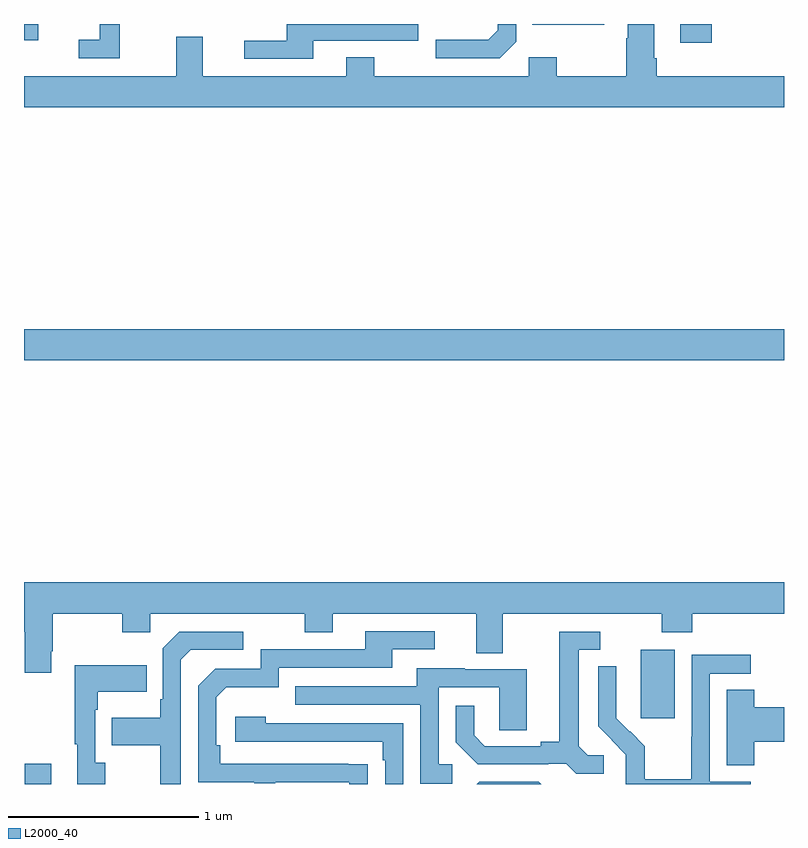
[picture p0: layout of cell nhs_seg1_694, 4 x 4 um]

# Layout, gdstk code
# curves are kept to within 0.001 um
import gdstk
lib = gdstk.Library(unit=1e-6, precision=1e-09)
def R(c, l, rs):  # rectangles x0, y0, x1, y1
    for r in rs: c.add(gdstk.rectangle(r[:2], r[2:], *l))
def P(c, l, *ps):  # polygons
    for p in ps: c.add(gdstk.Polygon(p, *l))
L2000_40 = (2000, 40)

nhs_seg1_694 = lib.new_cell('nhs_seg1_694')
R(nhs_seg1_694, L2000_40, [(149.003,520.199,149.143,520.306), (152.246,520.545,152.425,520.906), (149,522.428,153,522.592), (152.453,524.1,152.621,524.199), (149,524.114,149.074,524.199), (151.675,524.195,152.053,524.199)])
P(nhs_seg1_694, L2000_40, [(153,523.924),(152.33,523.924),(152.33,524.02),(152.317,524.02),(152.317,524.199),(152.177,524.199),(152.177,524.123),(152.17,524.123),(152.17,523.924),(151.803,523.924),(151.803,524.023),(151.656,524.023),(151.656,523.924),(150.843,523.924),(150.843,524.023),(150.695,524.023),(150.695,523.924),(149.941,523.924),(149.941,524.132),(149.801,524.132),(149.801,523.924),(149,523.924),(149,523.76),(153,523.76)],
  [(150.523,524.112),(151.074,524.112),(151.074,524.199),(150.383,524.199),(150.383,524.112),(150.159,524.112),(150.159,524.016),(150.523,524.016)],
  [(149.503,524.199),(149.399,524.199),(149.399,524.115),(149.289,524.115),(149.289,524.019),(149.503,524.019)],
  [(151.59,524.106),(151.59,524.199),(151.494,524.199),(151.494,524.166),(151.443,524.115),(151.167,524.115),(151.167,524.019),(151.503,524.019)],
  [(149.143,520.897),(149.151,520.897),(149.151,521.096),(149.518,521.096),(149.518,520.997),(149.664,520.997),(149.664,521.096),(150.478,521.096),(150.478,520.997),(150.625,520.997),(150.625,521.096),(151.379,521.096),(151.379,520.888),(151.519,520.888),(151.519,521.096),(152.356,521.096),(152.356,520.997),(152.516,520.997),(152.516,521.096),(153,521.096),(153,521.26),(149,521.26),(149,521),(149.003,521),(149.003,520.785),(149.143,520.785)],
  [(150.809,520.304),(150.032,520.305),(150.032,520.402),(150.012,520.402),(150.012,520.656),(150.065,520.709),(150.342,520.709),(150.342,520.812),(150.937,520.812),(150.937,520.908),(151.162,520.908),(151.162,521.004),(150.797,521.004),(150.797,520.908),(150.246,520.908),(150.246,520.806),(150.006,520.806),(149.916,520.716),(149.916,520.209),(150.211,520.209),(150.211,520.204),(150.323,520.204),(150.323,520.209),(150.713,520.209),(150.713,520.199),(150.809,520.199)],
  [(149.826,520.854),(149.877,520.905),(150.154,520.905),(150.154,521.001),(149.817,521.001),(149.73,520.914),(149.73,520.645),(149.718,520.645),(149.718,520.549),(149.461,520.549),(149.461,520.402),(149.718,520.402),(149.718,520.199),(149.826,520.199)],
  [(152.05,520.35),(151.968,520.35),(151.921,520.397),(151.921,520.905),(152.032,520.905),(152.032,521.001),(151.817,521.001),(151.817,520.421),(151.721,520.421),(151.721,520.398),(151.426,520.398),(151.369,520.455),(151.369,520.612),(151.272,520.612),(151.272,520.418),(151.388,520.302),(151.76,520.302),(151.76,520.305),(151.854,520.305),(151.906,520.253),(152.05,520.253)],
  [(152.824,520.212),(152.61,520.212),(152.61,520.779),(152.824,520.779),(152.824,520.878),(152.514,520.878),(152.514,520.448),(152.512,520.448),(152.512,520.225),(152.267,520.225),(152.267,520.399),(152.19,520.476),(152.187,520.473),(152.117,520.544),(152.118,520.82),(152.022,520.82),(152.022,520.502),(152.168,520.354),(152.168,520.257),(152.166,520.257),(152.166,520.199),(152.824,520.199)],
  [(149.428,520.31),(149.376,520.31),(149.376,520.589),(149.389,520.589),(149.389,520.685),(149.645,520.685),(149.645,520.825),(149.268,520.825),(149.268,520.409),(149.279,520.409),(149.279,520.199),(149.428,520.199)],
  [(151.255,520.302),(151.182,520.302),(151.182,520.707),(151.5,520.707),(151.5,520.483),(151.645,520.483),(151.645,520.803),(151.321,520.803),(151.321,520.807),(151.067,520.807),(151.067,520.713),(150.427,520.713),(150.427,520.617),(151.086,520.617),(151.086,520.201),(151.255,520.201)],
  [(152.843,520.421),(153,520.421),(153,520.604),(152.843,520.604),(152.843,520.694),(152.699,520.694),(152.699,520.297),(152.843,520.297)],
  [(150.996,520.518),(150.272,520.518),(150.272,520.552),(150.111,520.552),(150.111,520.422),(150.887,520.422),(150.887,520.325),(150.9,520.325),(150.9,520.199),(150.996,520.199)],
  [(151.71,520.212),(151.395,520.212),(151.382,520.199),(151.723,520.199)])

lib.write_gds('nhs_seg1_694.gds')
